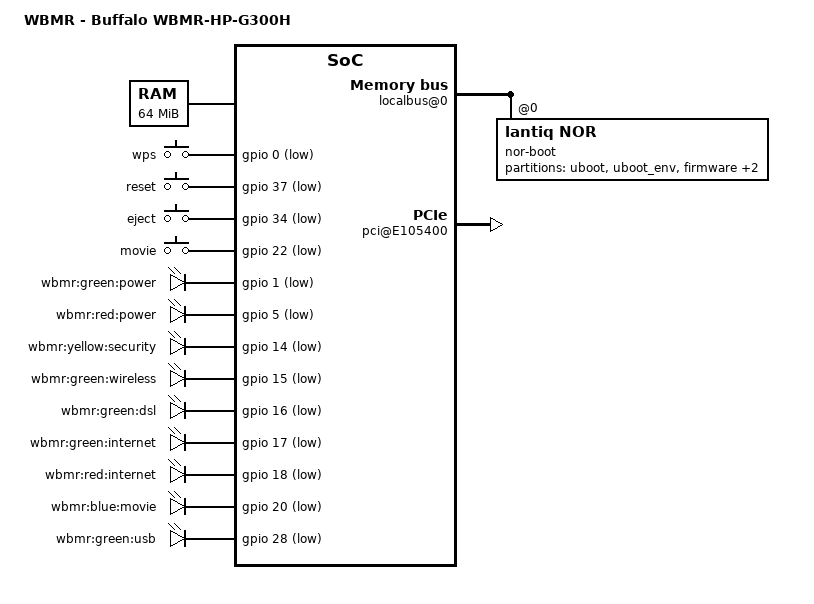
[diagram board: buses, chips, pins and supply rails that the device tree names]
/dts-v1/;

/include/ "ar9.dtsi"

/ {
	model = "WBMR - Buffalo WBMR-HP-G300H";

	chosen {
		bootargs = "console=ttyLTQ0,115200 init=/etc/preinit";
	};

	aliases {
		led-boot = &power_green;
		led-failsafe = &power_red;
		led-running = &power_green;

		led-dsl = &dsl;
		led-internet = &online_green;
		led-usb = &usb;
		led-wifi = &wifi;
	};

	memory@0 {
		reg = <0x0 0x4000000>;
	};

	fpi@10000000 {
		localbus@0 {
			nor-boot@0 {
				compatible = "lantiq,nor";
				bank-width = <2>;
				reg = <0 0x0 0x2000000>;
				#address-cells = <1>;
				#size-cells = <1>;

				partitions {
					compatible = "fixed-partitions";
					#address-cells = <1>;
					#size-cells = <1>;

					partition@0 {
						label = "uboot";
						reg = <0x00000 0x40000>;
						read-only;
					};

					partition@40000 {
						label = "uboot_env";
						reg = <0x40000 0x20000>;
						read-only;
					};

					partition@20000 {
						label = "firmware";
						reg = <0x60000 0x1f20000>;
					};

					boardconfig: partition@1fc0000 {
						label = "board";
						reg = <0x1fc0000 0x20000>;
						read-only;
					};

					partition@1fe0000 {
						label = "calibration";
						reg = <0x1fe0000 0x20000>;
						read-only;
					};
				};
			};
		};

		gpio: pinmux@E100B10 {
			pinctrl-names = "default";
			pinctrl-0 = <&state_default>;

			state_default: pinmux {
				pci-in {
					lantiq,groups = "req1";
					lantiq,output = <0>;
					lantiq,open-drain = <1>;
					lantiq,pull = <2>;
				};
				pci-out {
					lantiq,groups = "gnt1";
					lantiq,output = <1>;
					lantiq,pull = <0>;
				};
				pci_rst {
					lantiq,pins = "io21";
					lantiq,pull = <0>;
					lantiq,output = <1>;
				};
			};
		};

		etop@E180000 {
			phy-mode = "rgmii";
			mtd-mac-address = <&boardconfig 0x10024>;
		};

		ifxhcd@E101000 {
			status = "okay";
			gpios = <&gpio 36 0>;
		};

		pci@E105400 {
			status = "okay";
		};
	};

	gpio-keys-polled {
		compatible = "gpio-keys-polled";
		#address-cells = <1>;
		#size-cells = <0>;
		poll-interval = <100>;

		wps {
			label = "wps";
			gpios = <&gpio 0 1>;
			linux,code = <0x211>;
		};
		reset {
			label = "reset";
			gpios = <&gpio 37 1>;
			linux,code = <0x198>;
		};
		eject {
			label = "eject";
			gpios = <&gpio 34 1>;
			linux,code = <0xf7>;
		};
		movie {
			label = "movie";
			gpios = <&gpio 22 1>;
			linux,code = <0x109>;
		};
	};

	gpio-leds {
		compatible = "gpio-leds";

		power_green: power {
			label = "wbmr:green:power";
			gpios = <&gpio 1 1>;
			default-state = "keep";
		};
		power_red: power2 {
			label = "wbmr:red:power";
			gpios = <&gpio 5 1>;
		};
		security {
			label = "wbmr:yellow:security";
			gpios = <&gpio 14 1>;
		};
		wifi: wifi {
			label = "wbmr:green:wireless";
			gpios = <&gpio 15 1>;
		};
		dsl: dsl {
			label = "wbmr:green:dsl";
			gpios = <&gpio 16 1>;
		};
		online_green: online {
			label = "wbmr:green:internet";
			gpios = <&gpio 17 1>;
		};
		online2 {
			label = "wbmr:red:internet";
			gpios = <&gpio 18 1>;
		};
		movie {
			label = "wbmr:blue:movie";
			gpios = <&gpio 20 1>;
		};
		usb: usb {
			label = "wbmr:green:usb";
			gpios = <&gpio 28 1>;
			default-state = "on";
		};
	};
};
